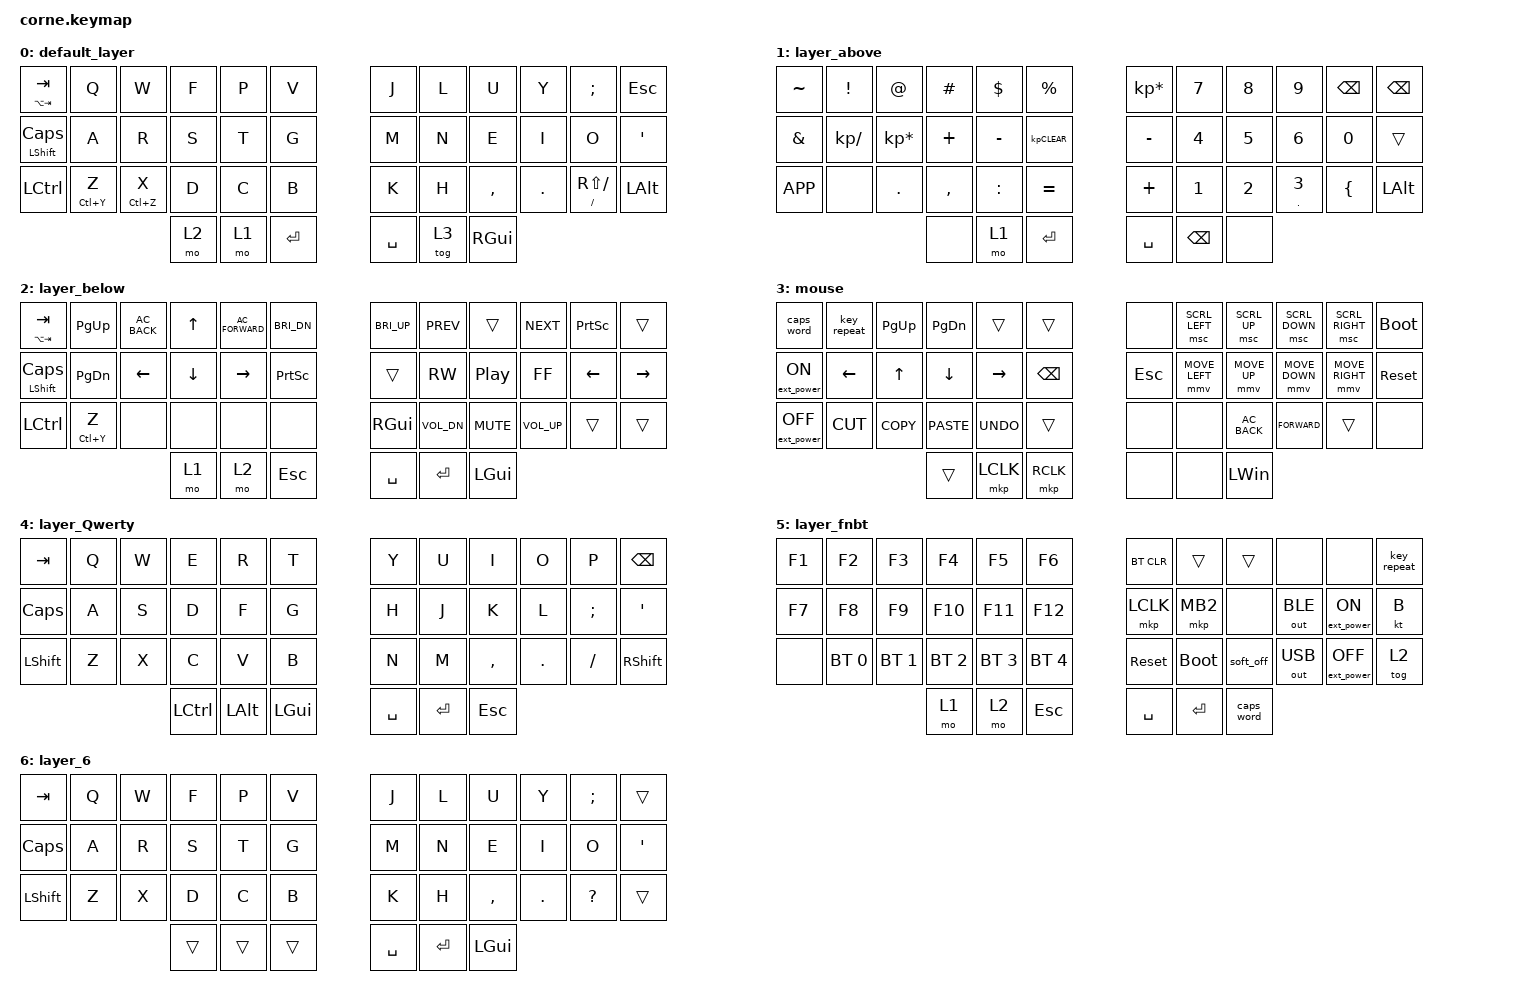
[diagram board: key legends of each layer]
/*
 * Copyright (c) 2020 The ZMK Contributors
 *
 * SPDX-License-Identifier: MIT
 */
//-------------------------------------------------------INCLUDE AREA-----------------------------------------------------------------------------------------------

#include <dt-bindings/zmk/mouse.h>
#include <behaviors.dtsi>
#include <dt-bindings/zmk/bt.h>
#include <dt-bindings/zmk/ext_power.h>
#include <dt-bindings/zmk/keys.h>
#include <dt-bindings/zmk/outputs.h>
#include <dt-bindings/zmk/pointing.h>

//-------------------------------------------------------COMBO-1-----------------------------------------------------------------------------------------------

/ {
    combos {
        compatible = "zmk,combos";

        Fdel {
            bindings = <&kp DEL>;
            key-positions = <10 11>;
        };

        combo_esc {
            timeout-ms = <50>;
            key-positions = <10 9>;
            bindings = <&kp ESC>;
        };

        combo_money {
            timeout-ms = <50>;
            key-positions = <18 30>;
            bindings = <&kp DLLR>;
        };

        combo_and {
            timeout-ms = <50>;
            key-positions = <13 19>;
            bindings = <&kp AMPERSAND>;
        };

        combo_AT {
            timeout-ms = <50>;
            key-positions = <13 16>;
            bindings = <&kp AT_SIGN>;
        };

        combo_EXCL {
            timeout-ms = <50>;
            key-positions = < 21 22>;
            bindings = <&kp EXCLAMATION>;
        };

        combo_htag {
            timeout-ms = <50>;
            key-positions = < 6 7>;
            bindings = <&kp HASH>;
        };

        combo_qwerty {
            timeout-ms = <50>;
            key-positions = <1 2 3 4 >;
            bindings = <&tog 4 CLCK>;
        };

        combo_BC {
            timeout-ms = <50>;
            key-positions = <15 14>;
            bindings = <&kp LEFT_PARENTHESIS>;
        };

        combo_BB {
            timeout-ms = <50>;
            key-positions = <20 21>;
            bindings = <&kp RIGHT_PARENTHESIS>;
        };

        combo_fnbt {
            timeout-ms = <50>;
            key-positions = <7 8 9 10>;
            bindings = <&mo 5>;
        };

        Talt {
            bindings = <&kp LEFT_ALT>;
            key-positions = <40 39>;
        };

        Deltl {
            bindings = <&kp BACKSPACE>;
            key-positions = <19 20>;
        };

        Ente {
            bindings = <&kp SINGLE_QUOTE>;
            key-positions = <18 19>;
        };

        Fdel2 {
            bindings = <&kp DEL>;
            key-positions = <18 19 20>;
        };

        Div {
            bindings = <&kp DQT>;
            key-positions = <7 6>;
        };

        Ctrltmb {
            bindings = <&kp LEFT_CONTROL>;
            key-positions = <37 38>;
        };

        Trial {
            bindings = <&kp C_QUIT>;
            key-positions = <0 2 1>;
        };

        Trial2 {
            bindings = <&kp K_LOCK>;
            key-positions = <0 2 3 1>;
        };

        Trial3 {
            bindings = <&caps_word>;
            key-positions = <35 34 32 33>;
        };

        Trial4 {
            bindings = <&bootloader>;
            key-positions = <>;
        };

        eqls {
            bindings = <&kp KP_EQUAL>;
            key-positions = <15 16 14>;
        };

        plus {
            bindings = <&kp KP_PLUS>;
            key-positions = <21 20 19>;
        };

        slash {
            bindings = <&kp KP_DIVIDE>;
            key-positions = <4 5>;
        };

        equals2 {
            bindings = <&kp EQUAL>;
            key-positions = <28 29>;
        };

        lcontrol {
            bindings = <&kp LEFT_CONTROL>;
            key-positions = <25 26>;
        };

        lcaps {
            bindings = <&kp CAPS>;
            key-positions = <13 14>;
        };

        ltab {
            bindings = <&kp TAB>;
            key-positions = <1 2>;
        };

        dquotes {
            bindings = <&kp DOUBLE_QUOTES>;
            key-positions = <16 17>;
        };

        blank {
            bindings = <&kp TAB>;
            key-positions = <3 4>;
        };

        blank2 {
            bindings = <&kp CAPSLOCK>;
            key-positions = <15 16>;
        };

        blank3 {
            bindings = <&kp LEFT_CONTROL>;
            key-positions = <28 27>;
        };

        blank4 {
            bindings = <&kp NUMBER_3>;
            key-positions = <18 19>;
        };

        unlk {
            bindings = <&studio_unlock>;
            key-positions = <36 37 38>;
        };
    };
};

//-----------------------------------------------------COMBO 2-------------------------------------------------------------------------------------------------
//---------------------------------------------------------COMBO-3---------------------------------------------------------------------------------------------
//-------------------------------------------------------COMBO-4----------------------------------------------------------------------------------------------
//-----------------------------------------------------COMBO-5------------------------------------------------------------------------------------------------
//-------------------------------------------------------COMBO-6----------------------------------------------------------------------------------------------
//------------------------------------------------------COMBO-7-----------------------------------------------------------------------------------------------
//-------------------------------------------------------COMBO-8----------------------------------------------------------------------------------------------
//--------------------------------------------------------COMBO-9---------------------------------------------------------------------------------------------
//-------------------------------------------------------COMBO-10----------------------------------------------------------------------------------------------
//--------------------------------------------------------COMBO-11---------------------------------------------------------------------------------------------
//--------------------------------------------------------COMBO-12---------------------------------------------------------------------------------------------
//------------------------------------------------------------------END OF COMBOS------------------------------------------------------------------------------------
//------------------------------------------------------------------------------------------------------------------------------------------------------
//-------------------------------------------------------BEHAVIORS-----------------------------------------------------------------------------------------------

/ {
    behaviors {
        tp: tap_preferred {
            compatible = "zmk,behavior-hold-tap";
            label = "TAP_PREFERRED";
            #binding-cells = <2>;
            tapping-term-ms = <150>;
            quick-tap-ms = <0>;
            flavor = "tap-preferred";
            bindings = <&kp>, <&kp>;
        };
    };

    //-------------------------------------------------------------------------------------------------------------------------------------------------------

    keymap {
        compatible = "zmk,keymap";

        default_layer {
            // -----------------------------------------------------------------------------------------------------------------------------------------------------------------------------
            // | TAB        |  Q      |  W      |  F     |  P Print|    B         |                              |  J  |  L   |  U  |  Y  |  ;  | BKSP |
            // | CAPS Shift |  A      |  R      |  S     |  T      |    G         |                              |  M  |  N   |  E  |  I  |  O  |  '   |
            // | CTRL       |  Z Redo |  X Undo |  C Cut |  D Copy |    V  Paste  |                              |  K  |  H   |  ,  |  .  |  /  | ALT |
            //                                          |  RSE| LWR  | ALT/ENT |                                 | SPC | BKSP | GUI |

            bindings = <
&tp LA(TAB) TAB  &kp Q        &kp W        &kp F  &kp P  &kp V        &kp J      &kp L   &kp U          &kp Y    &kp SEMI           &kp ESCAPE
&tp LSHFT CAPS   &kp A        &kp R        &kp S  &kp T  &kp G        &kp M      &kp N   &kp E          &kp I    &kp O              &kp SQT
&kp LCTRL        &tp LC(Y) Z  &tp LC(Z) X  &kp D  &kp C  &kp B        &kp K      &kp H   &kp COMMA      &kp DOT  &tp FSLH RS(FSLH)  &kp LALT
                                           &mo 2  &mo 1  &kp ENTER    &kp SPACE  &tog 3  &kp RIGHT_GUI
            >;
        };

        layer_above {
            // -----------------------------------------------------------------------------------------------------------------------------------------------------------------------------
            // |  ~   |  !  |  @  |  #  |  $  |   %  |                    |  *   |  7  |  8  |  9 |     | BKSP   |       
            // |  &   |  _  |  \  | "|" |     |  CLR |                    |  -   |  4  |  5  |  6 |  0  |        |   
            // |  ??  |     |     |  ,  |  .  |   =  |                    |  +   |  1  |  2  |  3 |  /  |  ALT   |    
            //                     |     |    |  ESC |                    | SPC | ALTE/NT |  0 |

            bindings = <
&kp TILDE  &kp EXCL       &kp AT           &kp HASH   &kp DLLR   &kp PRCNT       &kp KP_MULTIPLY  &kp N7         &kp N8  &kp N9      &kp BACKSPACE  &kp BSPC
&kp AMPS   &kp KP_DIVIDE  &kp KP_MULTIPLY  &kp PLUS   &kp MINUS  &kp KP_CLEAR    &kp MINUS        &kp N4         &kp N5  &kp N6      &kp N0         &trans
&kp K_APP  &none          &kp PERIOD       &kp COMMA  &kp COLON  &kp EQUAL       &kp PLUS         &kp N1         &kp N2  &tp DOT N3  &kp LBRC       &kp LALT
                                           &none      &mo 1      &kp ENTER       &kp SPACE        &kp BACKSPACE  &none
            >;
        };

        layer_below {
            // -----------------------------------------------------------------------------------------------------------------------------------------------------------------------------
            // |  TAB                 |  PG_up   |  BWRSR BCK  |   UP   |  BWRSR FWD  |     bRIGHTNESS - |                       | BRI_UP    |   Prev    |       |  Next | PNTSCRN   |          | 
            // |  CAPS Shift          |  PG_dwn  |      LFT    |   DWN  |    RGT      |     PRINT SCREEN |                       |           |   RW      |  PP   |  FF   |  LEFT     |  RIGHT   | 
            // |  CONTROL             |   REDO   |     UNDO    |   CUT  |    COPY     |        PASTE     |                       |           |   VOL -   |  MUTE |  VOL +|           |          |                                                                                          
            //									      |  RSE| LWR  | ESC |                       | SPC | ALTE/NT | GUI |

            bindings = <
&tp LA(TAB) TAB  &kp PG_UP    &kp C_AC_BACK  &kp UP          &kp C_AC_FORWARD  &kp C_BRI_DN       &kp C_BRI_UP  &kp C_PREV    &trans      &kp C_NEXT    &kp PRINTSCREEN  &trans
&tp LSHFT CAPS   &kp PG_DN    &kp LEFT       &kp DOWN_ARROW  &kp RIGHT         &kp PRINTSCREEN    &trans        &kp C_RW      &kp C_PP    &kp C_FF      &kp LEFT         &kp RIGHT
&kp LCTRL        &tp LC(Y) Z  &none          &none           &none             &none              &kp RGUI      &kp C_VOL_DN  &kp C_MUTE  &kp C_VOL_UP  &trans           &trans
                                             &mo 1           &mo 2             &kp ESC            &kp SPACE     &kp RET       &kp LGUI
            >;
        };

        mouse {
            bindings = <
&caps_word         &key_repeat     &kp PAGE_UP   &kp PAGE_DOWN   &trans           &trans           &none       &msc SCRL_LEFT  &msc SCRL_UP   &msc SCRL_DOWN  &msc SCRL_RIGHT  &bootloader
&ext_power EP_ON   &kp LEFT_ARROW  &kp UP_ARROW  &kp DOWN_ARROW  &kp RIGHT_ARROW  &kp BACKSPACE    &kp ESCAPE  &mmv MOVE_LEFT  &mmv MOVE_UP   &mmv MOVE_DOWN  &mmv MOVE_RIGHT  &sys_reset
&ext_power EP_OFF  &kp K_CUT       &kp K_COPY    &kp K_PASTE     &kp K_UNDO       &trans           &none       &none           &kp C_AC_BACK  &kp K_FORWARD   &trans           &none
                                                 &trans          &mkp LCLK        &mkp RCLK        &none       &none           &kp LEFT_WIN
            >;
        };

        layer_Qwerty {
            // ----------------------------------------------------------------------------------------------------------------------------------------------------------------------------------
            // |  TAB    |  Q  |  W  |  E  |  R  |  T  |      |  Y  |  U   |  I  |  O  |  P  |  \  | BKSP  |       
            // |  CAPS   |  A  |  S  |  D  |  F  |  G  |      |  H  |  J   |  K  |  L  |  ;  |  '  | ENTER |   
            // |  LSHFT  |  Z  |  X  |  C  |  V  |  B  |      |  N  |  M   |  ,  |  .  |  /? |     | ALT   | 
            //                      |  RSE| LWR  | ESC |      | SPC | ALTE/NT | GUI |

            bindings = <
&kp TAB    &kp Q  &kp W  &kp E      &kp R     &kp T       &kp Y      &kp U      &kp I      &kp O    &kp P     &kp BSPC
&kp CAPS   &kp A  &kp S  &kp D      &kp F     &kp G       &kp H      &kp J      &kp K      &kp L    &kp SEMI  &kp APOS
&kp LSHFT  &kp Z  &kp X  &kp C      &kp V     &kp B       &kp N      &kp M      &kp COMMA  &kp DOT  &kp FSLH  &kp RSHFT
                         &kp LCTRL  &kp LALT  &kp LGUI    &kp SPACE  &kp ENTER  &kp ESC
            >;
        };

        layer_fnbt {
            //----------------------------------------------------------------------------------------------------------------------------------------------------------------------------------
            //|  F1  |  F2  |  F3  |  F4  |  F5  | F16    |	        		|    |    |    |    |    |    |    								   
            //|  F7  |  F8  |  F9  |  F10 |  F11 | F12    |                  |    |    |    |    |    |    |      
            //|  BT0 |  BT1 |  BT2 |  BT3 |  BT4 |BT CLEAR|                  |    |    |    |    |    |    |      
            // 			              |  RSE| LWR  | ESC |                  | SPC | ALTE/NT | GUI |

            bindings = <
&kp F1  &kp F2        &kp F3        &kp F4        &kp F5        &kp F6          &bt BT_CLR  &trans       &trans      &none         &none              &key_repeat
&kp F7  &kp F8        &kp F9        &kp F10       &kp F11       &kp F12         &mkp LCLK   &mkp MB2     &none       &out OUT_BLE  &ext_power EP_ON   &kt B
&none   &bt BT_SEL 0  &bt BT_SEL 1  &bt BT_SEL 2  &bt BT_SEL 3  &bt BT_SEL 4    &sys_reset  &bootloader  &soft_off   &out OUT_USB  &ext_power EP_OFF  &tog 2
                                    &mo 1         &mo 2         &kp ESC         &kp SPACE   &kp RETURN   &caps_word
            >;
        };

        layer_6 {
            bindings = <
&kp TAB         &kp Q  &kp W  &kp F   &kp P   &kp V     &kp J      &kp L      &kp U         &kp Y       &kp SEMICOLON  &trans
&kp CAPS        &kp A  &kp R  &kp S   &kp T   &kp G     &kp M      &kp N      &kp E         &kp I       &kp O          &kp SQT
&kp LEFT_SHIFT  &kp Z  &kp X  &kp D   &kp C   &kp B     &kp K      &kp H      &kp COMMA     &kp PERIOD  &kp QUESTION   &trans
                              &trans  &trans  &trans    &kp SPACE  &kp ENTER  &kp LEFT_GUI
            >;
        };
    };
};
